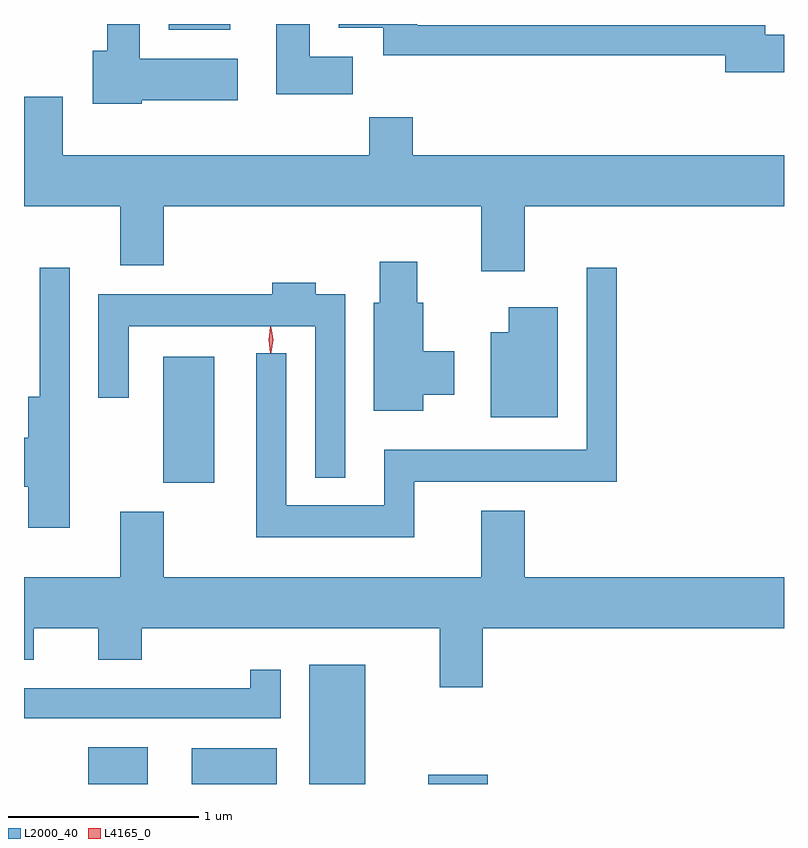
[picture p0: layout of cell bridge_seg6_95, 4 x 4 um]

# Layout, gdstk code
import gdstk
lib = gdstk.Library(unit=1e-6, precision=1e-09)
def R(c, l, rs):  # rectangles x0, y0, x1, y1
    for r in rs: c.add(gdstk.rectangle(r[:2], r[2:], *l))
def P(c, l, *ps):  # polygons
    for p in ps: c.add(gdstk.Polygon(p, *l))
L2000_40 = (2000, 40)
L4165_0 = (4165, 0)

bridge_seg6_95 = lib.new_cell('bridge_seg6_95')
R(bridge_seg6_95, L2000_40, [(1082.151,1611.376,1082.464,1611.569), (1082.696,1611.376,1083.144,1611.564), (1083.316,1611.376,1083.609,1612.004), (1083.941,1611.376,1084.254,1611.424), (1082.546,1612.961,1082.814,1613.624), (1082.576,1615.346,1082.899,1615.376)])
P(bridge_seg6_95, L2000_40, [(1082.434,1614.976),(1082.939,1614.976),(1082.939,1615.194),(1082.424,1615.194),(1082.424,1615.376),(1082.251,1615.376),(1082.251,1615.234),(1082.176,1615.234),(1082.176,1614.956),(1082.434,1614.956)],
  [(1085.814,1615.319),(1085.714,1615.319),(1085.714,1615.369),(1083.884,1615.369),(1083.884,1615.376),(1083.471,1615.376),(1083.471,1615.356),(1083.706,1615.356),(1083.706,1615.211),(1085.506,1615.211),(1085.506,1615.121),(1085.814,1615.121)],
  [(1083.544,1615.204),(1083.319,1615.204),(1083.319,1615.376),(1083.141,1615.376),(1083.141,1615.006),(1083.544,1615.006)],
  [(1084.449,1614.416),(1085.814,1614.416),(1085.814,1614.684),(1083.859,1614.684),(1083.859,1614.884),(1083.631,1614.884),(1083.631,1614.684),(1082.019,1614.684),(1082.019,1614.994),(1081.814,1614.994),(1081.814,1614.416),(1082.321,1614.416),(1082.321,1614.106),(1082.549,1614.106),(1082.549,1614.416),(1084.221,1614.416),(1084.221,1614.076),(1084.449,1614.076)],
  [(1083.914,1613.426),(1084.079,1613.426),(1084.079,1613.654),(1083.914,1613.654),(1083.914,1613.909),(1083.884,1613.909),(1083.884,1614.124),(1083.686,1614.124),(1083.686,1613.909),(1083.656,1613.909),(1083.656,1613.341),(1083.914,1613.341)],
  [(1083.869,1612.966),(1084.934,1612.966),(1084.934,1614.093),(1084.776,1614.093),(1084.776,1613.134),(1083.711,1613.134),(1083.711,1612.844),(1083.194,1612.844),(1083.194,1613.643),(1083.036,1613.643),(1083.036,1612.676),(1083.869,1612.676)],
  [(1082.054,1614.093),(1081.896,1614.093),(1081.896,1613.414),(1081.836,1613.414),(1081.836,1613.199),(1081.814,1613.199),(1081.814,1612.941),(1081.836,1612.941),(1081.836,1612.726),(1082.054,1612.726)],
  [(1083.504,1613.954),(1083.349,1613.954),(1083.349,1614.014),(1083.121,1614.014),(1083.121,1613.954),(1082.206,1613.954),(1082.206,1613.408),(1082.364,1613.408),(1082.364,1613.786),(1083.346,1613.786),(1083.346,1612.988),(1083.504,1612.988)],
  [(1084.624,1613.884),(1084.366,1613.884),(1084.366,1613.754),(1084.271,1613.754),(1084.271,1613.306),(1084.624,1613.306)],
  [(1084.229,1612.196),(1085.814,1612.196),(1085.814,1612.464),(1084.449,1612.464),(1084.449,1612.814),(1084.221,1612.814),(1084.221,1612.464),(1082.549,1612.464),(1082.549,1612.809),(1082.321,1612.809),(1082.321,1612.464),(1081.814,1612.464),(1081.814,1612.031),(1081.864,1612.031),(1081.864,1612.196),(1082.206,1612.196),(1082.206,1612.031),(1082.434,1612.031),(1082.434,1612.196),(1084.001,1612.196),(1084.001,1611.886),(1084.229,1611.886)],
  [(1083.164,1611.978),(1083.006,1611.978),(1083.006,1611.879),(1081.814,1611.879),(1081.814,1611.721),(1083.164,1611.721)])
P(bridge_seg6_95, L4165_0, [(1083.111,1613.644),(1083.102,1613.713),(1083.111,1613.782),(1083.112,1613.783),(1083.112,1613.782),(1083.122,1613.713),(1083.112,1613.644),(1083.112,1613.644)],
  [(1083.114,1613.647),(1083.105,1613.714),(1083.114,1613.78),(1083.115,1613.781),(1083.116,1613.78),(1083.125,1613.714),(1083.116,1613.647),(1083.115,1613.647)])

lib.write_gds('bridge_seg6_95.gds')
